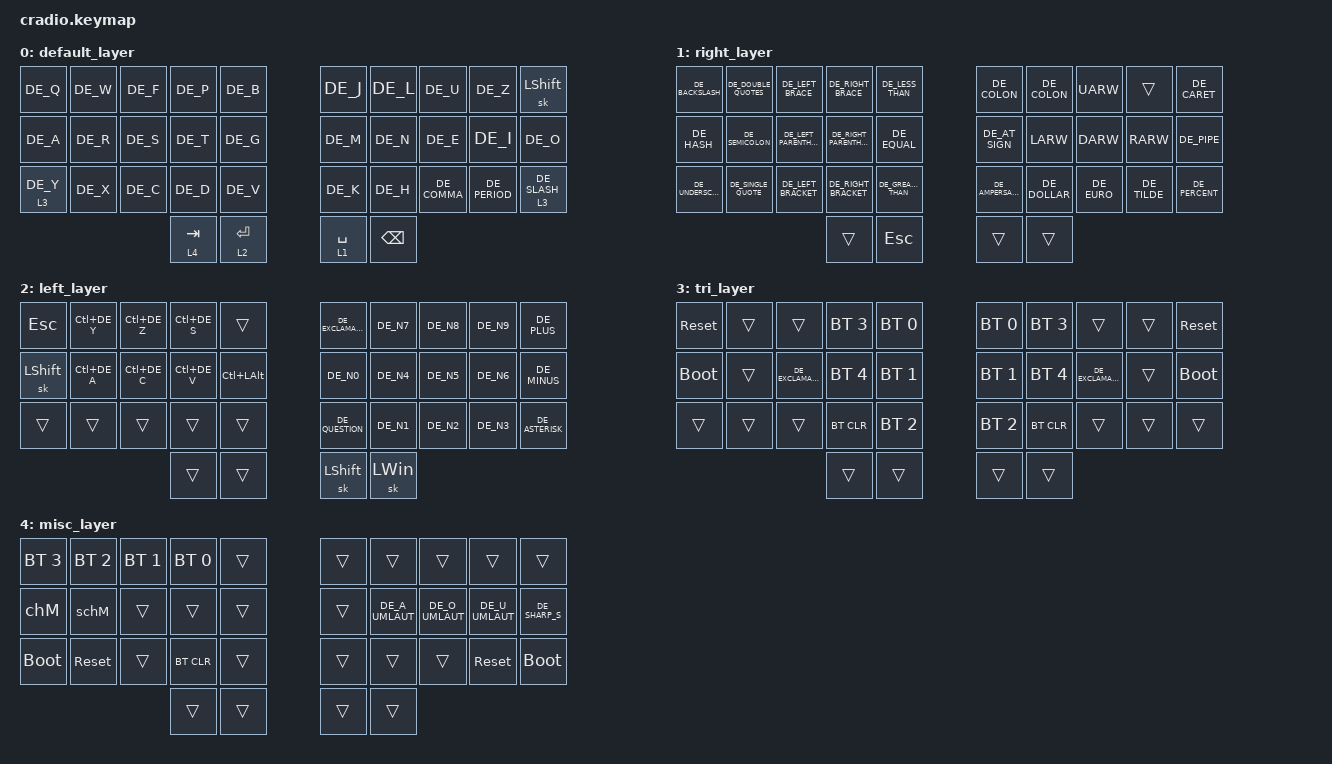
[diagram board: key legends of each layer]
//Robs sweep theFirst
//╭─────────────────────╮╭─────────────────────╮
//| Q   W   F   P   B   ||  J   L   U   Z  shft|
//| A   R   S   T   G   ||  M   N   E   I   O  |
//| Y   X   C   D   V   ||  K   H   ,   .   /  |
//╰─────────────────────╯╰─────────────────────╯
//          | tab enter || spc  bspc |
//          ╰───────────┴┴───────────╯
//╭─────────────────────╮╭─────────────────────╮
//| \   ""  {   }   <   || :   :   up  tr   ^  |
//| #   ;   (   )   =   || @   lft dwn rght |  |
//| _   ''  [   ]   >   || &    $   €   ~   %  |
//╰─────────────────────╯╰─────────────────────╯
//          |  tr  esc  ||  tr   tr  |
//          ╰───────────┴┴───────────╯
//╭─────────────────────╮╭─────────────────────╮
//| esc ctY ctZ ctS tr  ||  !   7   8   9   +  |
//| sft ctA ctC ctV stlt||  0   4   5   6   -  |
//| tr  tr  tr  tr  tr  ||  ?   1   2   3   *  |
//╰─────────────────────╯╰─────────────────────╯
//          |  tr   tr  || shft  win |
//          ╰───────────┴┴───────────╯
//╭─────────────────────╮╭─────────────────────╮
//| rst tr  tr  tr  bt0 || bt3 tr  tr  tr  rst |
//|boot tr  e   tr  bt1 || bt4 tr  e   tr  boot|
//| tr  tr  tr  clr bt2 || tr  tr  tr  tr  tr  |
//╰─────────────────────╯╰─────────────────────╯
//          |  tr   tr  ||  tr   tr  |
//          ╰───────────┴┴───────────╯
//╭─────────────────────╮╭─────────────────────╮
//| tr  tr  tr  tr  tr  || tr  tr  tr  tr  tr  |
//| ch  sch tr gmx fsnw || tr  ä   ö   ü   ß   |
//| tr  tr  tr  tr  tr  || tr  tr  tr  tr  tr  |
//╰─────────────────────╯╰─────────────────────╯
//          |  tr   tr  ||  tr   tr  |
//          ╰───────────┴┴───────────╯

#include <behaviors.dtsi>
#include <dt-bindings/zmk/keys.h>
#include <dt-bindings/zmk/bt.h>
#include "keys_de.h"

// Home row mods macro
#define HRML(k1,k2,k3,k4) &ht LSHFT k1  &ht LALT k2  &ht LCTRL k3  &ht LGUI k4
#define HRMR(k1,k2,k3,k4) &ht RGUI k1  &ht RCTRL k2  &ht RALT k3  &ht RSHFT k4

/ {

//Macros______________________________________________________________________________________
    macros {
        schM: macro_0 {
            label = "macro_0";
            compatible = "zmk,behavior-macro";
            #binding-cells = <0>;
            bindings = <&kp DE_S &kp DE_C &kp DE_H>;
        };
        chM: macro_1 {
            label = "macro_1";
            compatible = "zmk,behavior-macro";
            #binding-cells = <0>;
            bindings = <&kp DE_C &kp DE_H>;
        };
        gmxMailM: macro_2 {
            label = "macro_2";
            compatible = "zmk,behavior-macro";
            #binding-cells = <0>;
            bindings = <&kp DE_R &kp DE_O &kp DE_B &kp DE_I &kp DE_N &kp DE_PERIOD &kp DE_W &kp DE_U &kp DE_N &kp DE_D &kp DE_E &kp DE_R &kp DE_L &kp DE_I &kp DE_C &kp DE_H &kp DE_AT_SIGN &kp DE_G &kp DE_M &kp DE_X &kp DE_PERIOD &kp DE_N &kp DE_E &kp DE_T>;
        };
        fsnwMailM: macro_3 {
            label = "macro_3";
            compatible = "zmk,behavior-macro";
            #binding-cells = <0>;
            bindings = <&kp DE_R &kp DE_O &kp DE_B &kp DE_I &kp DE_N &kp DE_PERIOD &kp DE_W &kp DE_U &kp DE_N &kp DE_D &kp DE_E &kp DE_R &kp DE_L &kp DE_I &kp DE_C &kp DE_H &kp DE_AT_SIGN &kp DE_F &kp DE_S &kp DE_N &kp DE_W &kp DE_PERIOD &kp DE_D &kp DE_E>;
        };
    };

//Behaviors___________________________________________________________________________________
    behaviors {
        ht: hold_tap {
            label = "hold_tap";
            compatible = "zmk,behavior-hold-tap";
            #binding-cells = <2>;
            flavor = "tap-preferred";
            tapping-term-ms = <220>;
            quick-tap-ms = <150>;
            global-quick-tap;
            bindings = <&kp>, <&kp>;
        };

//Tap-Dances___________________________________________________________________________________
        ae: tap_dance_0 {
            compatible = "zmk,behavior-tap-dance";
            label = "TAP_DANCE_0";
            #binding-cells = <0>;
            tapping-term-ms = <200>;
            bindings = <&kp DE_A>, <&kp DE_A_UMLAUT>;
        };

        oe: tap_dance_1 {
            compatible = "zmk,behavior-tap-dance";
            label = "TAP_DANCE_1";
            #binding-cells = <0>;
            tapping-term-ms = <200>;
            bindings = <&kp DE_O>, <&kp DE_O_UMLAUT>;
        };

        ue: tap_dance_2 {
            compatible = "zmk,behavior-tap-dance";
            label = "TAP_DANCE_2";
            #binding-cells = <0>;
            tapping-term-ms = <200>;
            bindings = <&kp DE_U>, <&kp DE_U_UMLAUT>;
        };

        ss: tap_dance_3 {
            compatible = "zmk,behavior-tap-dance";
            label = "TAP_DANCE_3";
            #binding-cells = <0>;
            tapping-term-ms = <200>;
            bindings = <&kp DE_Z>, <&kp DE_SHARP_S>;
        };

        sch: tap_dance_4 {
            compatible = "zmk,behavior-tap-dance";
            label = "TAP_DANCE_4";
            #binding-cells = <0>;
            tapping-term-ms = <200>;
            bindings = <&kp DE_S>, <&schM>;
        };
        
    };

//Conditional Layers____________________________________________________________________________
    conditional_layers {
        compatible = "zmk,conditional-layers";
        tri_layer {
            if-layers = <1 2>;
            then-layer = <3>;
        };
    };

//Keymaps_______________________________________________________________________________________
    keymap {
        compatible = "zmk,keymap";
        default_layer {
            bindings = <
        //╭─────────────────────╮╭─────────────────────╮
        //| Q   W   F   P   B   ||  J   L   U   Z  shft|
        //| A   R   S   T   G   ||  M   N   E   I   O  |
        //| Y   X   C   D   V   ||  K   H   ,   .   /  |
        //╰─────────────────────╯╰─────────────────────╯
        //          | tab enter || spc  bspc |
        //          ╰───────────┴┴───────────╯

        &kp DE_Q    &kp DE_W    &kp DE_F     &kp DE_P &kp DE_B    &kp DE_J      &kp DE_L    &kp DE_U       &kp DE_Z        &sk LSHIFT
        &kp DE_A    &kp DE_R    &kp DE_S     &kp DE_T &kp DE_G    &kp DE_M      &kp DE_N    &kp DE_E       &kp DE_I        &kp DE_O
        &lt 3 DE_Y  &kp DE_X    &kp DE_C     &kp DE_D &kp DE_V    &kp DE_K      &kp DE_H    &kp DE_COMMA   &kp DE_PERIOD   &lt 3 DE_SLASH
        &lt 4 TAB   &lt 2 ENTER &lt 1 SPACE  &kp BSPC
            >;
        };

        
        right_layer {
            bindings = <
        //╭─────────────────────╮╭─────────────────────╮
        //| \   ""  {   }   <   || :   :   up  tr   ^  |
        //| #   ;   (   )   =   || @   lft dwn rght |  |
        //| _   ''  [   ]   >   || &    $   €   ~   %  |
        //╰─────────────────────╯╰─────────────────────╯
        //          |  tr  esc  ||  tr   tr  |
        //          ╰───────────┴┴───────────╯

        &kp DE_BACKSLASH    &kp DE_DOUBLE_QUOTES    &kp DE_LEFT_BRACE       &kp DE_RIGHT_BRACE          &kp DE_LESS_THAN        &kp DE_COLON        &kp DE_COLON    &kp UARW     &trans       &kp DE_CARET
        &kp DE_HASH         &kp DE_SEMICOLON        &kp DE_LEFT_PARENTHESIS &kp DE_RIGHT_PARENTHESIS    &kp DE_EQUAL            &kp DE_AT_SIGN      &kp LARW        &kp DARW     &kp RARW     &kp DE_PIPE
        &kp DE_UNDERSCORE   &kp DE_SINGLE_QUOTE     &kp DE_LEFT_BRACKET     &kp DE_RIGHT_BRACKET        &kp DE_GREATER_THAN     &kp DE_AMPERSAND    &kp DE_DOLLAR   &kp DE_EURO  &kp DE_TILDE &kp DE_PERCENT
        &trans              &kp ESC                 &trans                  &trans
            >;
        };


        left_layer {
            bindings = <
        //╭─────────────────────╮╭─────────────────────╮
        //| esc ctY ctZ ctS tr  ||  !   7   8   9   +  |
        //| sft ctA ctC ctV stlt||  0   4   5   6   -  |
        //| tr  tr  tr  tr  tr  ||  ?   1   2   3   *  |
        //╰─────────────────────╯╰─────────────────────╯
        //          |  tr   tr  || shft  win |
        //          ╰───────────┴┴───────────╯

        &kp ESCAPE     &kp LC(DE_Y)    &kp LC(DE_Z)       &kp LC(DE_S)   &trans              &kp DE_EXCLAMATION  &kp DE_N7   &kp DE_N8   &kp DE_N9   &kp DE_PLUS
        &sk LSHIFT     &kp LC(DE_A)    &kp LC(DE_C)       &kp LC(DE_V)   &kp LC(LALT)        &kp DE_N0           &kp DE_N4   &kp DE_N5   &kp DE_N6   &kp DE_MINUS
        &trans         &trans          &trans             &trans         &trans              &kp DE_QUESTION     &kp DE_N1   &kp DE_N2   &kp DE_N3   &kp DE_ASTERISK
        &trans         &trans          &sk LSHIFT         &sk LWIN
            >;
        };


        tri_layer {
            bindings = <
        //╭─────────────────────╮╭─────────────────────╮
        //| rst tr  tr  bt3  bt0|| bt0 bt3  tr tr  rst |
        //|boot tr  !   bt4  bt1|| bt1 bt4  !  tr  boot|
        //| tr  tr  tr  clr  bt2|| bt2 clr  tr tr  tr  |
        //╰─────────────────────╯╰─────────────────────╯
        //          |  tr   tr  ||  tr   tr  |
        //          ╰───────────┴┴───────────╯
        
        &sys_reset  &trans     &trans                 &bt BT_SEL 3  &bt BT_SEL 0      &bt BT_SEL 0    &bt BT_SEL 3     &trans               &trans    &sys_reset
        &bootloader &trans     &kp DE_EXCLAMATION     &bt BT_SEL 4  &bt BT_SEL 1      &bt BT_SEL 1    &bt BT_SEL 4     &kp DE_EXCLAMATION   &trans    &bootloader
        &trans      &trans     &trans                 &bt BT_CLR    &bt BT_SEL 2      &bt BT_SEL 2    &bt BT_CLR       &trans               &trans    &trans
        &trans      &trans     &trans                 &trans
            >;
        };

        misc_layer {
            bindings = <
        //╭─────────────────────╮╭─────────────────────╮
        //| tr  tr  tr  tr  tr  || tr  tr  tr  tr  tr  |
        //| ch  sch tr gmx fsnw || tr  ä   ö   ü   ß   |
        //| tr  tr  tr  tr  tr  || tr  tr  tr  tr  tr  |
        //╰─────────────────────╯╰─────────────────────╯
        //          |  tr   tr  ||  tr   tr  |
        //          ╰───────────┴┴───────────╯
        
        &bt BT_SEL 3 &bt BT_SEL 2 &bt BT_SEL 1 &bt BT_SEL 0  &trans          &trans    &trans              &trans            &trans             &trans
        &chM         &schM        &trans       &trans        &trans          &trans    &kp DE_A_UMLAUT     &kp DE_O_UMLAUT   &kp DE_U_UMLAUT    &kp DE_SHARP_S
        &bootloader       &sys_reset       &trans       &bt BT_CLR    &trans          &trans    &trans              &trans            &sys_reset             &bootloader
        &trans       &trans       &trans       &trans
            >;
        };
    };
};
